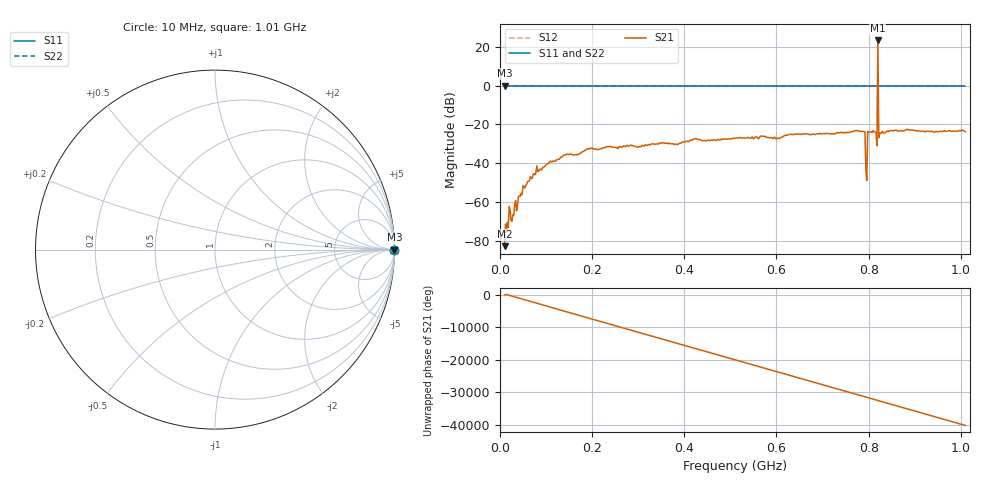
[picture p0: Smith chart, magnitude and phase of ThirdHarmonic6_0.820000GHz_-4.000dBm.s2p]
! 8/16/2025 3:15:24 AM
! C:\ANRITSUVNA\TEMP\TEMP.S2P
! CHANNEL.1
! TR.MEASUREMENT
! RAW.DATA
! RF.CORRECTION.OFF
! AVERAGING.OFF
! IF.BANDWIDTH: 5KHZ
! SWEEPTYPE:  FREQ.SWEEP(Linear)
! Reference Plane Port Info
! PORT:  PORT1  PORT2
! DISTANCE:  0  m  0  m
! TIME:  0  s  0  s
! PHASE.OFFSET:  0  deg.  0  deg.
! LOSS:  0  dB  0  dB
! REF.LOSS:  0  dB  0  dB
! REF.FREQ:  0  Hz  0  Hz
! Power Info
! POWER:  -20  dBm  -20  dBm
! EFF.POWER:  -20  dBm  -20  dBm
! SOURCE.ATTEN:  0  dB  0  dB
! TEST.ATTEN:  0  dB  0  dB
# GHZ S RI R 50.0
! FREQ.GHZ  S11RE  S11IM  S21RE  S21IM  S12RE  S12IM  S22RE  S22IM
!; PortSelection: Port_12
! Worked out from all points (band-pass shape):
!   501 points, 10 MHz to 1.01 GHz, reference 50 ohm
!   highest |S21| = 23.14 dB at 820 MHz (marker M1); lowest = -82.5 dB at 10 MHz (marker M2)
!   |S21| within 3 dB of the highest: 819.8889 MHz to 820.1202 MHz (231.2 kHz wide, 0.0282 % of centre)
!   lowest |S11| = 0.0 dB at 10 MHz (marker M3)
!   |S11| at or under -10 dB: nowhere
!   |S22| runs from 0.0 to 0.0 dB; largest |S21 - S12| = 14
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0.01  1 0  -6.84e-05 -3.16e-05  1 0  1 0
0.02  1 0  -0.00025 0.000742  1 0  1 0
0.028  1 0  -0.000448 0.000191  1 0  1 0
0.054  1 0  -0.00236 -0.000131  1 0  1 0
0.076  1 0  0.00509 0.000382  1 0  1 0
0.142  1 0  -0.0151 -0.00659  1 0  1 0
0.178  1 0  -0.0192 -0.00507  1 0  1 0
0.344  1 0  0.031 -0.00514  1 0  1 0
0.51  1 0  -0.0423 0.0139  1 0  1 0
0.678  1 0  -0.0212 -0.0519  1 0  1 0
0.788  1 0  -0.0483 0.0463  1 0  1 0
0.792  1 0  0.0583 -0.029  1 0  1 0
0.796  1 0  -0.00324 -0.0016  1 0  1 0
0.798  1 0  -0.00327 0.0658  1 0  1 0
0.802  1 0  0.025 -0.0606  1 0  1 0
0.814  1 0  -0.0627 0.0112  1 0  1 0
0.816  1 0  -0.00042 0.0618  1 0  1 0
0.82  1 0  2.7 -14.1  1 0  1 0
0.824  1 0  -0.034 0.0494  1 0  1 0
0.826  1 0  0.0388 0.0439  1 0  1 0
0.844  1 0  0.0436 0.05  1 0  1 0
1.01  1 0  -0.0602 -0.0245  1 0  1 0
